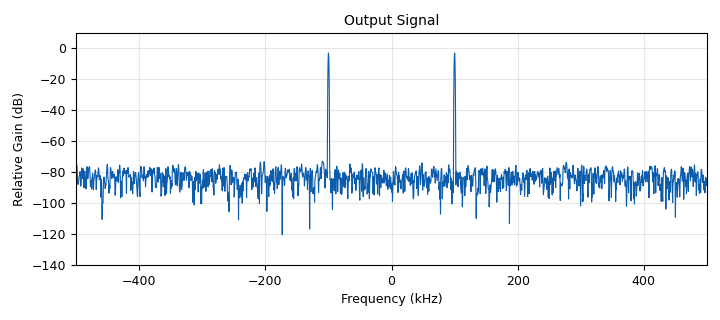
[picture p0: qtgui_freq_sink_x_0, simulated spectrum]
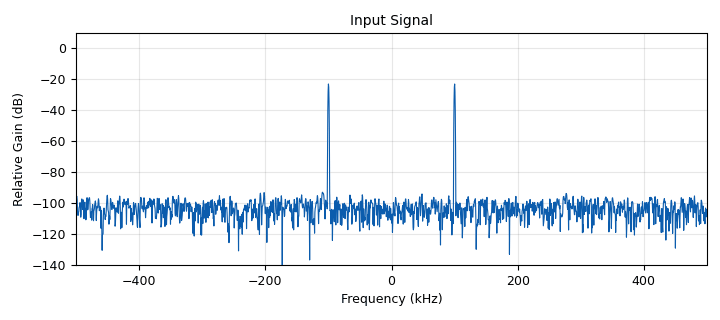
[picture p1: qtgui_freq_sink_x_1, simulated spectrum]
options:
  parameters:
    author: Alekh Gupta
    generate_options: qt_gui
    id: Check
    output_language: python
    title: Non-linear_Two_Tone_Setup
  states: {}

blocks:
- name: samp_rate
  id: variable
  parameters:
    value: '1000000'
  states: {}
- name: tone_param_0
  id: variable_qtgui_range
  parameters:
    gui_hint: '[0,0,1,1]'
    label: Tone_Spacing/Freq.
    orient: Qt.Horizontal
    rangeType: int
    start: '0'
    step: '1000'
    stop: '500000'
    value: '100000'
  states: {}
- name: tone_param_1
  id: variable_qtgui_range
  parameters:
    gui_hint: '[0,1,1,1]'
    label: Amplitude
    orient: Qt.Horizontal
    start: '0'
    step: '0.01'
    stop: '3'
    value: '0.2'
  states: {}
- name: analog_fastnoise_source_x_0
  id: analog_fastnoise_source_x
  parameters:
    amp: '0.00075'
    noise_type: analog.GR_GAUSSIAN
    samples: '8192'
    seed: '0'
    type: complex
  states: {}
- name: analog_sig_source_x_0
  id: analog_sig_source_x
  parameters:
    amp: tone_param_1
    freq: tone_param_0
    offset: '0'
    phase: '0'
    samp_rate: samp_rate
    type: complex
    waveform: analog.GR_COS_WAVE
  states: {}
- name: analog_sig_source_x_1
  id: analog_sig_source_x
  parameters:
    amp: tone_param_1
    freq: '-tone_param_0'
    offset: '0'
    phase: '0'
    samp_rate: samp_rate
    type: complex
    waveform: analog.GR_COS_WAVE
  states: {}
- name: blocks_add_xx_0
  id: blocks_add_xx
  parameters:
    num_inputs: '3'
    type: complex
  states: {}
- name: blocks_throttle_0
  id: blocks_throttle
  parameters:
    samples_per_second: samp_rate
    type: complex
  states: {}
- name: epy_block_0
  id: epy_block
  parameters:
    _source_code: |
      """
      Embedded Python Blocks:

      Each time this file is saved, GRC will instantiate the first class it finds
      to get ports and parameters of your block. The arguments to __init__  will
      be the parameters. All of them are required to have default values!
      """

      import numpy as np
      from gnuradio import gr


      class blk(gr.sync_block):  # other base classes are basic_block, decim_block, interp_block
          """Embedded Python Block example - a simple multiply const"""

          def __init__(self, order1=np.complex(10,0),order3=np.complex(0.0142,-0.0818),order5=np.complex(0,0),order7=np.complex(0,0),order9=np.complex(0,0)):  # only default arguments here
              """arguments to this function show up as parameters in GRC"""
              gr.sync_block.__init__(
                  self,
                  name="Wiener Power Amplifier",   # will show up in GRC
                  in_sig=[np.complex64],
                  out_sig=[np.complex64]
              )
              # if an attribute with the same name as a parameter is found,
              # a callback is registered (properties work, too).
              self.order1 = order1
              self.order3 = order3
              self.order5 = order5
              self.order7 = order7
              self.order9 = order9

          def work(self, input_items, output_items):
              """evaluate the non-linear amplification by odd order coefficients"""
              output_items[0][:] = input_items[0] * self.order1+((input_items[0])**3)*self.order3 +((input_items[0])**5)*self.order5+((input_items[0])**7)*self.order7+((input_items[0])**9)*self.order9
              return len(output_items[0])
    order1: 10+0.1j
    order3: 0.01+0j
    order5: '0.002'
    order7: 0.00001-0.00073
    order9: 0.00004-0.00001
  states: {}
- name: qtgui_freq_sink_x_0
  id: qtgui_freq_sink_x
  parameters:
    bw: samp_rate
    fc: '0'
    fftsize: '2048'
    gui_hint: '[1,1,4,1]'
    name: '"Output Signal"'
    type: complex
    wintype: firdes.WIN_BLACKMAN_hARRIS
  states: {}
- name: qtgui_freq_sink_x_1
  id: qtgui_freq_sink_x
  parameters:
    bw: samp_rate
    fc: '0'
    fftsize: '2048'
    gui_hint: '[1,0,4,1]'
    name: '"Input Signal"'
    type: complex
    wintype: firdes.WIN_BLACKMAN_hARRIS
  states: {}

connections:
- [analog_fastnoise_source_x_0, '0', blocks_add_xx_0, '2']
- [analog_sig_source_x_0, '0', blocks_add_xx_0, '0']
- [analog_sig_source_x_1, '0', blocks_add_xx_0, '1']
- [blocks_add_xx_0, '0', blocks_throttle_0, '0']
- [blocks_throttle_0, '0', epy_block_0, '0']
- [blocks_throttle_0, '0', qtgui_freq_sink_x_1, '0']
- [epy_block_0, '0', qtgui_freq_sink_x_0, '0']

metadata:
  file_format: 1
